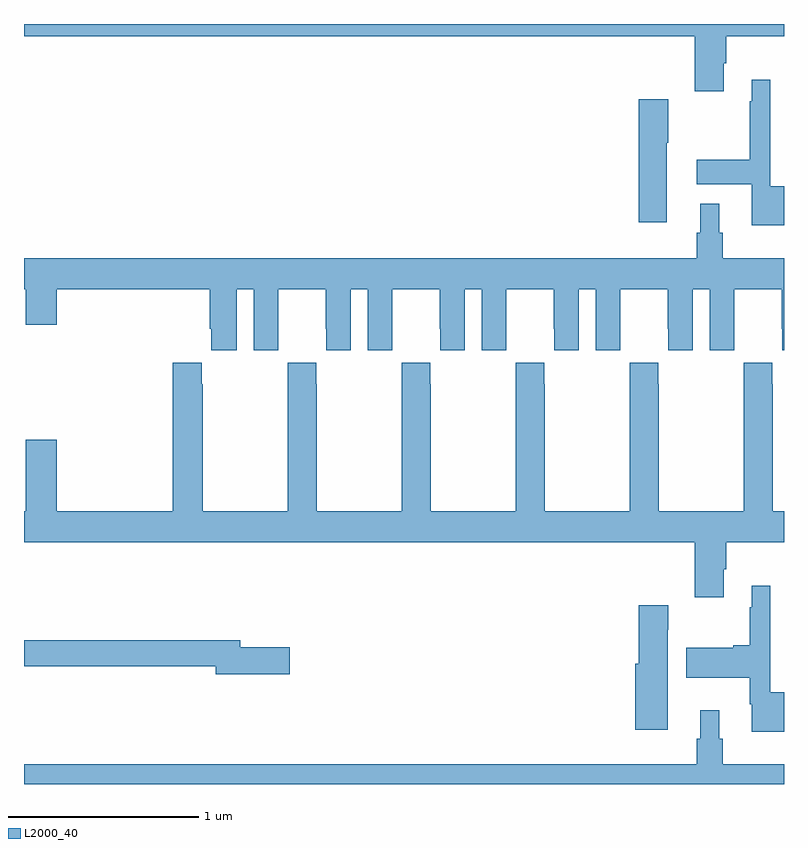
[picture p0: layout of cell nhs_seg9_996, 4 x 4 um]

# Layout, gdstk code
import gdstk
lib = gdstk.Library(unit=1e-6, precision=1e-09)
def P(c, l, *ps):  # polygons
    for p in ps: c.add(gdstk.Polygon(p, *l))
L2000_40 = (2000, 40)

nhs_seg9_996 = lib.new_cell('nhs_seg9_996')
P(nhs_seg9_996, L2000_40, [(168.682,1180.294),(168.695,1180.294),(168.695,1180.436),(169,1180.436),(169,1180.5),(165,1180.5),(165,1180.436),(168.53,1180.436),(168.53,1180.146),(168.682,1180.146)],
  [(169,1179.646),(168.927,1179.646),(168.927,1180.207),(168.83,1180.207),(168.83,1180.094),(168.819,1180.094),(168.819,1179.786),(168.54,1179.786),(168.54,1179.656),(168.83,1179.656),(168.83,1179.44),(169,1179.44)],
  [(168.382,1179.874),(168.39,1179.874),(168.39,1180.105),(168.236,1180.105),(168.236,1179.456),(168.382,1179.456)],
  [(166.12,1179.104),(166.208,1179.104),(166.208,1178.784),(166.338,1178.784),(166.338,1178.896),(166.339,1178.896),(166.339,1179.104),(166.589,1179.104),(166.589,1178.896),(166.59,1178.896),(166.59,1178.784),(166.72,1178.784),(166.72,1179.104),(166.808,1179.104),(166.808,1178.784),(166.938,1178.784),(166.938,1178.896),(166.939,1178.896),(166.939,1179.104),(167.189,1179.104),(167.189,1178.896),(167.19,1178.896),(167.19,1178.784),(167.32,1178.784),(167.32,1179.104),(167.408,1179.104),(167.408,1178.784),(167.538,1178.784),(167.538,1178.896),(167.539,1178.896),(167.539,1179.104),(167.789,1179.104),(167.789,1178.896),(167.79,1178.896),(167.79,1178.784),(167.92,1178.784),(167.92,1179.104),(168.008,1179.104),(168.008,1178.784),(168.138,1178.784),(168.138,1178.896),(168.139,1178.896),(168.139,1179.104),(168.389,1179.104),(168.389,1178.896),(168.39,1178.896),(168.39,1178.784),(168.52,1178.784),(168.52,1179.104),(168.608,1179.104),(168.608,1178.784),(168.738,1178.784),(168.738,1178.896),(168.739,1178.896),(168.739,1179.104),(168.989,1179.104),(168.989,1178.896),(168.99,1178.896),(168.99,1178.784),(169,1178.784),(169,1179.268),(168.677,1179.268),(168.677,1179.402),(168.658,1179.402),(168.658,1179.553),(168.56,1179.553),(168.56,1179.402),(168.541,1179.402),(168.541,1179.268),(165,1179.268),(165,1179.104),(165.008,1179.104),(165.008,1178.916),(165.172,1178.916),(165.172,1179.104),(165.977,1179.104),(165.977,1178.896),(165.986,1178.896),(165.986,1178.784),(166.12,1178.784)],
  [(166.989,1178.716),(166.989,1178.603),(166.987,1178.603),(166.987,1177.936),(166.542,1177.936),(166.542,1178.603),(166.539,1178.603),(166.539,1178.716),(166.389,1178.716),(166.389,1178.603),(166.387,1178.603),(166.387,1177.936),(165.942,1177.936),(165.942,1178.603),(165.935,1178.603),(165.935,1178.716),(165.782,1178.716),(165.782,1177.936),(165.172,1177.936),(165.172,1178.311),(165.008,1178.311),(165.008,1177.936),(165,1177.936),(165,1177.772),(168.53,1177.772),(168.53,1177.482),(168.682,1177.482),(168.682,1177.63),(168.695,1177.63),(168.695,1177.772),(169,1177.772),(169,1177.936),(168.942,1177.936),(168.942,1178.603),(168.939,1178.603),(168.939,1178.716),(168.789,1178.716),(168.789,1178.603),(168.787,1178.603),(168.787,1177.936),(168.342,1177.936),(168.342,1178.603),(168.339,1178.603),(168.339,1178.716),(168.189,1178.716),(168.189,1178.603),(168.187,1178.603),(168.187,1177.936),(167.742,1177.936),(167.742,1178.603),(167.739,1178.603),(167.739,1178.716),(167.589,1178.716),(167.589,1178.603),(167.587,1178.603),(167.587,1177.936),(167.142,1177.936),(167.142,1178.603),(167.139,1178.603),(167.139,1178.716)],
  [(169,1176.982),(168.927,1176.982),(168.927,1177.543),(168.83,1177.543),(168.83,1177.43),(168.819,1177.43),(168.819,1177.229),(168.734,1177.229),(168.734,1177.216),(168.486,1177.216),(168.486,1177.058),(168.819,1177.058),(168.819,1176.921),(168.831,1176.921),(168.831,1176.776),(169,1176.776)],
  [(168.388,1177.312),(168.39,1177.312),(168.39,1177.441),(168.236,1177.441),(168.236,1177.134),(168.218,1177.134),(168.218,1176.786),(168.388,1176.786)],
  [(166.399,1177.22),(166.138,1177.22),(166.138,1177.256),(165,1177.256),(165,1177.12),(166.01,1177.12),(166.01,1177.078),(166.399,1177.078)],
  [(169,1176.604),(168.677,1176.604),(168.677,1176.738),(168.658,1176.738),(168.658,1176.889),(168.56,1176.889),(168.56,1176.738),(168.541,1176.738),(168.541,1176.604),(165,1176.604),(165,1176.5),(169,1176.5)])

lib.write_gds('nhs_seg9_996.gds')
